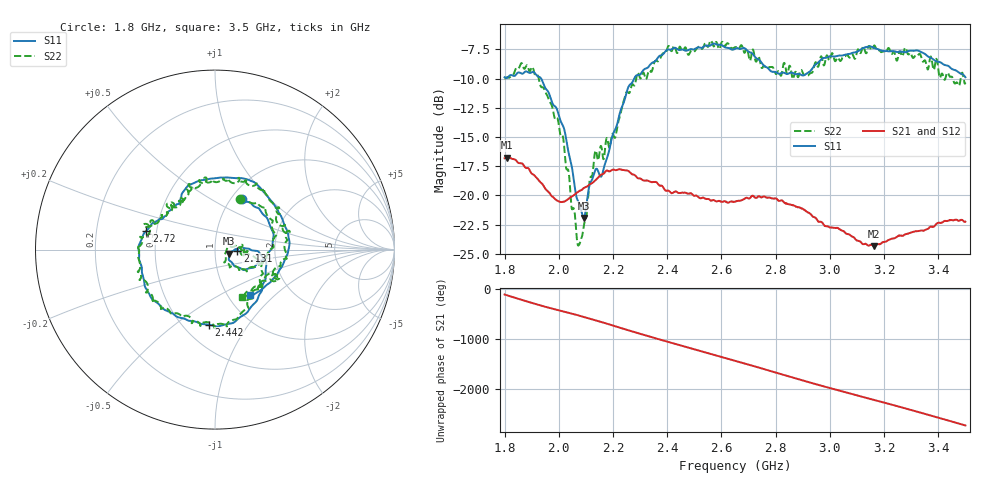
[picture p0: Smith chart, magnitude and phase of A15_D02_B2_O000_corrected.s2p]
! Created with skrf 1.9.0 (http://scikit-rf.org).
# Hz S RI R 50.0
!freq ReS11 ImS11 ReS21 ImS21 ReS12 ImS12 ReS22 ImS22
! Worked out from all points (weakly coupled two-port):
!   1601 points, 1.8 GHz to 3.5 GHz, reference 50 ohm
!   highest |S21| = -16.76 dB at 1.81 GHz (marker M1); lowest = -24.3 dB at 3.163 GHz (marker M2)
!   lowest |S11| = -21.9 dB at 2.092 GHz (marker M3), VSWR 1.17, Z = 58.3 - j2.55 ohm
!   |S11| at or under -10 dB: 1.935 GHz to 2.278 GHz (343.4 MHz wide, 16.3 % of centre)
!   |S22| runs from -24.3 to -6.7 dB; largest |S21 - S12| = 0.0025
!   S11 on the Smith chart (normalised r, x): 1.8 GHz: 1.11, +0.70; 2.131 GHz: 1.29, -0.02; 2.442 GHz: 0.66, -0.67; 2.72 GHz: 0.44, +0.11; 3.5 GHz: 1.25, -0.71
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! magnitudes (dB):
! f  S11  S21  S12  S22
! 1.8 GHz  -9.9  -16.8  -16.8  -10.0
! 1.81 GHz  -9.9  -16.8  -16.8  -9.9
! 1.901 GHz  -9.5  -18.1  -18.1  -9.0
! 1.952 GHz  -10.9  -19.5  -19.4  -11.2
! 2.019 GHz  -14.3  -20.5  -20.6  -15.6
! 2.069 GHz  -20.4  -19.7  -19.8  -24.1
! 2.084 GHz  -21.4  -19.6  -19.5  -23.6
! 2.092 GHz  -21.9  -19.4  -19.4  -22.6
! 2.131 GHz  -18.0  -18.8  -18.8  -16.6
! 2.161 GHz  -18.1  -18.2  -18.1  -16.5
! 2.209 GHz  -14.3  -17.9  -17.8  -15.0
! 2.259 GHz  -10.6  -18.0  -18.0  -11.3
! 2.367 GHz  -8.2  -19.1  -19.0  -8.5
! 2.442 GHz  -7.5  -19.8  -19.8  -7.5
! 2.65 GHz  -7.5  -20.5  -20.5  -7.3
! 2.72 GHz  -8.0  -20.1  -20.0  -7.8
! 2.81 GHz  -9.6  -20.5  -20.4  -9.4
! 2.934 GHz  -9.2  -21.7  -21.7  -9.5
! 3.163 GHz  -7.4  -24.3  -24.3  -7.2
! 3.217 GHz  -7.7  -23.8  -23.8  -7.4
! 3.327 GHz  -7.6  -23.1  -23.0  -8.0
! 3.5 GHz  -9.9  -22.3  -22.2  -10.4
